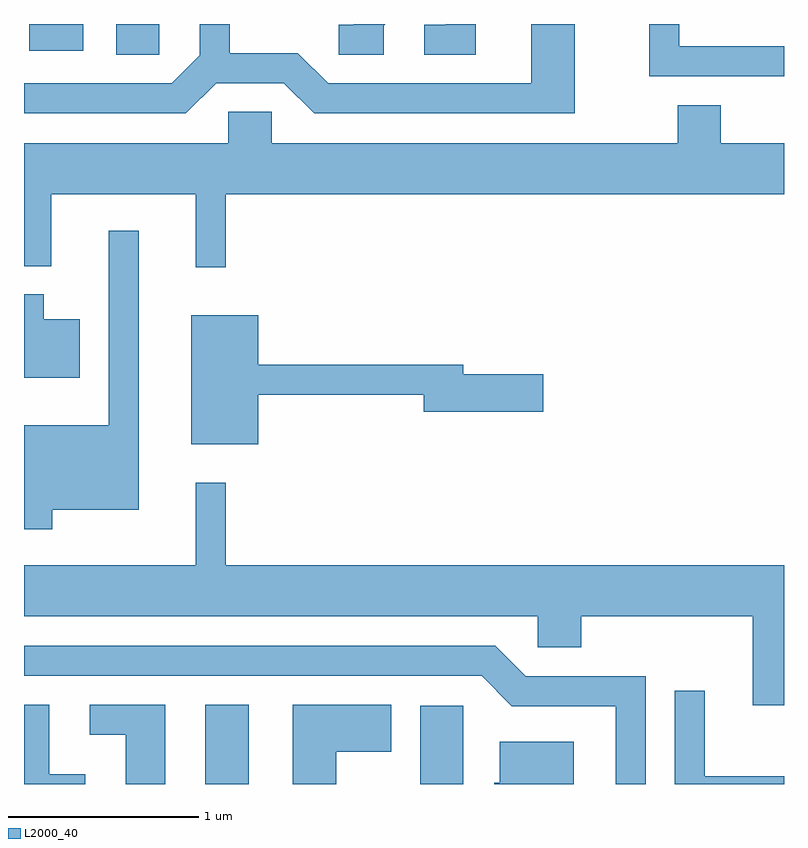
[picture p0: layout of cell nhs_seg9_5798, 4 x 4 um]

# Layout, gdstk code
import gdstk
lib = gdstk.Library(unit=1e-6, precision=1e-09)
def R(c, l, rs):  # rectangles x0, y0, x1, y1
    for r in rs: c.add(gdstk.rectangle(r[:2], r[2:], *l))
def P(c, l, *ps):  # polygons
    for p in ps: c.add(gdstk.Polygon(p, *l))
L2000_40 = (2000, 40)

nhs_seg9_5798 = lib.new_cell('nhs_seg9_5798')
R(nhs_seg9_5798, L2000_40, [(356.566,2046.432,356.794,2046.849), (357.696,2046.432,357.924,2046.844), (356.096,2050.271,356.324,2050.432), (355.638,2050.291,355.924,2050.432), (356.846,2050.431,357.104,2050.432)])
P(nhs_seg9_5798, L2000_40, [(356.622,2050.121),(356.979,2050.121),(357.139,2049.961),(358.509,2049.961),(358.509,2050.432),(358.281,2050.432),(358.281,2050.119),(357.212,2050.119),(357.052,2050.279),(356.694,2050.279),(356.694,2050.432),(356.536,2050.432),(356.536,2050.267),(356.389,2050.119),(355.611,2050.119),(355.611,2049.961),(356.462,2049.961)],
  [(357.504,2050.423),(357.513,2050.432),(357.346,2050.432),(357.346,2050.429),(357.268,2050.429),(357.268,2050.271),(357.504,2050.271)],
  [(359.611,2050.314),(359.059,2050.314),(359.059,2050.432),(358.901,2050.432),(358.901,2050.156),(359.611,2050.156)],
  [(357.989,2050.432),(357.831,2050.432),(357.831,2050.429),(357.718,2050.429),(357.718,2050.271),(357.989,2050.271)],
  [(356.674,2049.536),(359.611,2049.536),(359.611,2049.804),(359.279,2049.804),(359.279,2050.004),(359.051,2050.004),(359.051,2049.804),(356.914,2049.804),(356.914,2049.969),(356.686,2049.969),(356.686,2049.804),(355.611,2049.804),(355.611,2049.158),(355.754,2049.158),(355.754,2049.536),(356.516,2049.536),(356.516,2049.153),(356.674,2049.153)],
  [(355.759,2047.876),(356.214,2047.876),(356.214,2049.343),(356.056,2049.343),(356.056,2048.319),(355.611,2048.319),(355.611,2047.773),(355.759,2047.773)],
  [(355.904,2048.879),(355.714,2048.879),(355.714,2049.009),(355.611,2049.009),(355.611,2048.571),(355.904,2048.571)],
  [(356.844,2048.481),(357.716,2048.481),(357.716,2048.391),(358.344,2048.391),(358.344,2048.589),(357.924,2048.589),(357.924,2048.639),(356.844,2048.639),(356.844,2048.899),(356.491,2048.899),(356.491,2048.221),(356.844,2048.221)],
  [(359.611,2047.584),(356.674,2047.584),(356.674,2048.018),(356.516,2048.018),(356.516,2047.584),(355.611,2047.584),(355.611,2047.316),(358.316,2047.316),(358.316,2047.151),(358.544,2047.151),(358.544,2047.316),(359.446,2047.316),(359.446,2046.846),(359.611,2046.846)],
  [(358.884,2046.999),(358.252,2046.999),(358.092,2047.159),(355.611,2047.159),(355.611,2047.001),(358.019,2047.001),(358.179,2046.841),(358.726,2046.841),(358.726,2046.432),(358.884,2046.432)],
  [(359.611,2046.474),(359.194,2046.474),(359.194,2046.923),(359.036,2046.923),(359.036,2046.432),(359.611,2046.432)],
  [(356.354,2046.849),(355.958,2046.849),(355.958,2046.691),(356.146,2046.691),(356.146,2046.432),(356.354,2046.432)],
  [(357.254,2046.601),(357.544,2046.601),(357.544,2046.849),(357.026,2046.849),(357.026,2046.432),(357.254,2046.432)],
  [(355.934,2046.484),(355.744,2046.484),(355.744,2046.849),(355.611,2046.849),(355.611,2046.432),(355.934,2046.432)],
  [(358.504,2046.654),(358.116,2046.654),(358.116,2046.439),(358.086,2046.439),(358.086,2046.432),(358.504,2046.432)])

lib.write_gds('nhs_seg9_5798.gds')
